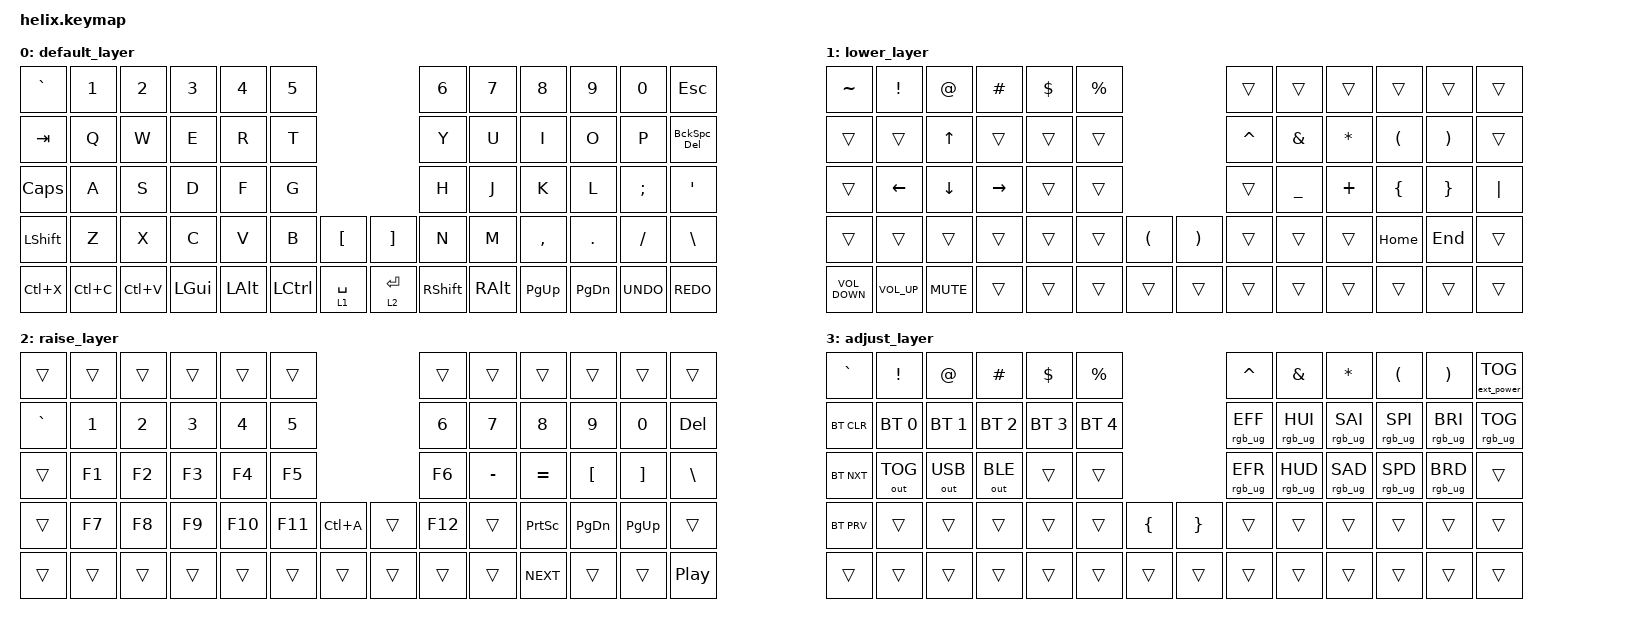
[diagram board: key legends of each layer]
/*
 * Copyright (c) 2020 The ZMK Contributors
 *
 * SPDX-License-Identifier: MIT
 */

#include <behaviors.dtsi>
#include <dt-bindings/zmk/bt.h>
#include <dt-bindings/zmk/ext_power.h>
#include <dt-bindings/zmk/keys.h>
#include <dt-bindings/zmk/outputs.h>
#include <dt-bindings/zmk/rgb.h>

#define DEFAULT 0
#define LOWER  1
#define RAISE  2
#define ADJUST 3

/* NOTE: At the time of the creation of this keymap, there are no specified codes for 'eisuu' and 'kana' input in ZMK.
However, 'LANG1' and 'LANG2' are fully-functioning candidates for 'kana' and 'eisuu' input respectively.
As such, those are in use within the default layer at this time.*/

/ {
    behaviors {
        BckSpc_Del: BckSpc_Del {
            compatible = "zmk,behavior-mod-morph";
            label = "BCKSPC_DEL";
            bindings = <&kp BACKSPACE>, <&kp DEL>;

            #binding-cells = <0>;
            mods = <(MOD_LSFT)>;
        };
    };

    keymap {
        compatible = "zmk,keymap";

        default_layer {
            // ---------------------------------------------------------------------------------------------------------------------------------
            // | GRAVE  |   1    |   2    |   3    |   4    |   5    |                                      |   6    |   7    |   8    |   9    |   0    |  DEL   |
            // |  TAB   |   Q    |   W    |   E    |   R    |   T    |                                      |   Y    |   U    |   I    |   O    |   P    |  BSPC  |
            // |  CTRL  |   A    |   S    |   D    |   F    |   G    |                                      |   H    |   J    |   K    |   L    |   ;    |   '    |
            // |  SHIFT |   Z    |   X    |   C    |   V    |   B    |  LBKT  |                    |  RBKT  |   N    |   M    |   ,    |   .    |   /    |  RET   |
            // | ADJUST |  ESC   |  ALT   |  LGUI  | EISUU  | LOWER  | SPACE  |                    |  SPACE | RAISE  |  KANA  |  LEFT  |  DOWN  |  UP    |  RIGHT |

            bindings = <
&kp GRAVE  &kp N1     &kp N2     &kp N3    &kp N4        &kp N5                                             &kp N6           &kp N7         &kp N8       &kp N9         &kp N0      &kp ESC
&kp TAB    &kp Q      &kp W      &kp E     &kp R         &kp T                                              &kp Y            &kp U          &kp I        &kp O          &kp P       &BckSpc_Del
&kp CAPS   &kp A      &kp S      &kp D     &kp F         &kp G                                              &kp H            &kp J          &kp K        &kp L          &kp SEMI    &kp SQT
&kp LSHFT  &kp Z      &kp X      &kp C     &kp V         &kp B             &kp LEFT_BRACKET    &kp RBKT     &kp N            &kp M          &kp COMMA    &kp PERIOD     &kp SLASH   &kp BACKSLASH
&kp LC(X)  &kp LC(C)  &kp LC(V)  &kp LGUI  &kp LEFT_ALT  &kp LEFT_CONTROL  &lt 1 SPACE         &lt 2 ENTER  &kp RIGHT_SHIFT  &kp RIGHT_ALT  &kp PAGE_UP  &kp PAGE_DOWN  &kp K_UNDO  &kp K_REDO
            >;
        };

        lower_layer {
            // ---------------------------------------------------------------------------------------------------------------------------------
            // |      |      |      |      |      |      |                                  |      |      |      |      |      |      |
            // |  ~   |  !   |  @   |  #   |  $   |  %   |                                  |  ^   |  &   |  *   |  (   |  )   |      |
            // |      |      |      |      |      |      |                                  |      |  _   |  +   |  {   |  }   | PIPE |
            // |      |      |      |      |      |      |  (   |                    |  )   |      |      |      | HOME | END  |      |
            // |      |      |      |      |      |      |      |                    |      |      |      |      |      |      |      |

            bindings = <
&kp TILDE          &kp EXCLAMATION  &kp AT          &kp HASH         &kp DLLR  &kp PRCNT                        &trans     &trans     &trans     &trans    &trans    &trans
&trans             &trans           &kp UP_ARROW    &trans           &trans    &trans                           &kp CARET  &kp AMPS   &kp ASTRK  &kp LPAR  &kp RPAR  &trans
&trans             &kp LEFT_ARROW   &kp DOWN_ARROW  &kp RIGHT_ARROW  &trans    &trans                           &trans     &kp UNDER  &kp PLUS   &kp LBRC  &kp RBRC  &kp PIPE
&trans             &trans           &trans          &trans           &trans    &trans     &kp LPAR    &kp RPAR  &trans     &trans     &trans     &kp HOME  &kp END   &trans
&kp C_VOLUME_DOWN  &kp C_VOLUME_UP  &kp C_MUTE      &trans           &trans    &trans     &trans      &trans    &trans     &trans     &trans     &trans    &trans    &trans
            >;
        };

        raise_layer {
            // ---------------------------------------------------------------------------------------------------------------------------------
            // |       |       |       |       |       |       |                                    |       |       |       |       |       |       |
            // |   `   |   1   |   2   |   3   |   4   |   5   |                                    |   6   |   7   |   8   |   9   |   0   |  DEL  |
            // |       |  F1   |  F2   |  F3   |  F4   |  F5   |                                    |  F6   |   -   |   =   |   [   |   ]   |   \   |
            // |       |  F7   |  F8   |  F9   |  F10  |  F11  |       |                    |       |  F12  |       | PSCRN | PG_DN | PG_UP |       |
            // |       |       |       |       |       |       |       |                    |       |       |       | NEXT  | VOL-  | VOL+  | PLAY  |

            bindings = <
&trans     &trans  &trans  &trans  &trans   &trans                        &trans   &trans     &trans      &trans     &trans     &trans
&kp GRAVE  &kp N1  &kp N2  &kp N3  &kp N4   &kp N5                        &kp N6   &kp N7     &kp N8      &kp N9     &kp N0     &kp DEL
&trans     &kp F1  &kp F2  &kp F3  &kp F4   &kp F5                        &kp F6   &kp MINUS  &kp EQUAL   &kp LBKT   &kp RBKT   &kp BSLH
&trans     &kp F7  &kp F8  &kp F9  &kp F10  &kp F11  &kp LC(A)    &trans  &kp F12  &trans     &kp PSCRN   &kp PG_DN  &kp PG_UP  &trans
&trans     &trans  &trans  &trans  &trans   &trans   &trans       &trans  &trans   &trans     &kp C_NEXT  &trans     &trans     &kp C_PP
            >;
        };

        adjust_layer {
            // ---------------------------------------------------------------------------------------------------------------------------------
            // |    `     |    !     |    @     |    #     |    $     |    %     |                                          |    ^     |    &     |    *     |    (     |    )     |  EP TOG  |
            // |  BT CLR  | BT SEL0  | BT SEL1  | BT SEL2  | BGT SEL3 | BT SEL4  |                                          | RGB EFF+ | RGB HUE+ | RGB SAT+ | RGB SPD+ | RGB BRI+ | RGB TOG  |
            // |  BT NXT  | OUT TOG  | OUT USB  | OUT BLE  |          |          |                                          | RGB EFF- | RGB HUE- | RGB SAT- | RGB SPD- | RGB BRI- |          |
            // |  BT PRV  |          |          |          |          |          |    {     |                    |    }     |          |          |          |          |          |          |
            // |          |          |          |          |          |          |          |                    |          |          |          |          |          |          |          |

            bindings = <
&kp GRAVE   &kp EXCL      &kp AT        &kp HASH      &kp DLLR      &kp PRCNT                           &kp CARET        &kp AMPS         &kp ASTRK        &kp LPAR         &kp RPAR         &ext_power EP_TOG
&bt BT_CLR  &bt BT_SEL 0  &bt BT_SEL 1  &bt BT_SEL 2  &bt BT_SEL 3  &bt BT_SEL 4                        &rgb_ug RGB_EFF  &rgb_ug RGB_HUI  &rgb_ug RGB_SAI  &rgb_ug RGB_SPI  &rgb_ug RGB_BRI  &rgb_ug RGB_TOG
&bt BT_NXT  &out OUT_TOG  &out OUT_USB  &out OUT_BLE  &trans        &trans                              &rgb_ug RGB_EFR  &rgb_ug RGB_HUD  &rgb_ug RGB_SAD  &rgb_ug RGB_SPD  &rgb_ug RGB_BRD  &trans
&bt BT_PRV  &trans        &trans        &trans        &trans        &trans        &kp LBRC    &kp RBRC  &trans           &trans           &trans           &trans           &trans           &trans
&trans      &trans        &trans        &trans        &trans        &trans        &trans      &trans    &trans           &trans           &trans           &trans           &trans           &trans
            >;
        };
    };

    conditional_layers {
        compatible = "zmk,conditional-layers";

        AdjustLayer {
            if-layers = <1 2>;
            then-layer = <3>;
        };
    };
};
